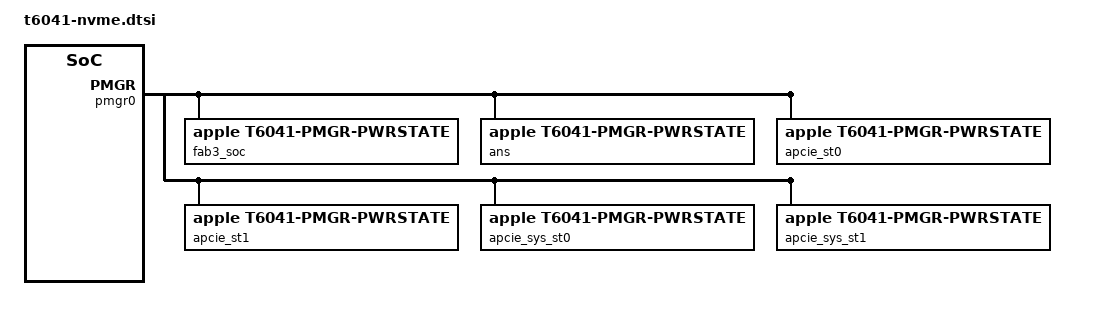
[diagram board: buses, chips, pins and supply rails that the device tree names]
// SPDX-License-Identifier: GPL-2.0+ OR MIT
/* J616c resources from its ADT. nvme-secure-bar is a present, zero-length
 * boolean property. Use the M4 secure NVMe aperture (reg[9]), not reg[3].
 */
&pmgr0 {
	ps_fab3_soc: power-controller@118 {
		compatible = "apple,t6041-pmgr-pwrstate", "apple,t8103-pmgr-pwrstate";
		reg = <0x118 4>;
		#power-domain-cells = <0>;
		#reset-cells = <0>;
		label = "fab3_soc";
		apple,always-on;
	};
	ps_ans: power-controller@370 {
		compatible = "apple,t6041-pmgr-pwrstate", "apple,t8103-pmgr-pwrstate";
		reg = <0x370 4>;
		#power-domain-cells = <0>;
		#reset-cells = <0>;
		label = "ans";
		power-domains = <&ps_fab3_soc>;
		/* Turning ANS off can trigger its watchdog. */
		apple,always-on;
	};
	ps_apcie_st0: power-controller@108 {
		compatible = "apple,t6041-pmgr-pwrstate", "apple,t8103-pmgr-pwrstate";
		reg = <0x108 4>;
		#power-domain-cells = <0>;
		#reset-cells = <0>;
		label = "apcie_st0";
	};
	ps_apcie_st1: power-controller@110 {
		compatible = "apple,t6041-pmgr-pwrstate", "apple,t8103-pmgr-pwrstate";
		reg = <0x110 4>;
		#power-domain-cells = <0>;
		#reset-cells = <0>;
		label = "apcie_st1";
	};
	ps_apcie_sys_st0: power-controller@380 {
		compatible = "apple,t6041-pmgr-pwrstate", "apple,t8103-pmgr-pwrstate";
		reg = <0x380 4>;
		#power-domain-cells = <0>;
		#reset-cells = <0>;
		label = "apcie_sys_st0";
		power-domains = <&ps_ans>, <&ps_apcie_st0>;
	};
	ps_apcie_sys_st1: power-controller@388 {
		compatible = "apple,t6041-pmgr-pwrstate", "apple,t8103-pmgr-pwrstate";
		reg = <0x388 4>;
		#power-domain-cells = <0>;
		#reset-cells = <0>;
		label = "apcie_sys_st1";
		power-domains = <&ps_ans>, <&ps_apcie_st1>;
	};
};

&{/soc} {
	ans_mbox: mailbox@409608000 {
		compatible = "apple,t6041-asc-mailbox", "apple,asc-mailbox-v4";
		reg = <4 0x09608000 0 0x4000>;
		interrupt-parent = <&aic>;
		interrupts = <AIC_IRQ 1530 IRQ_TYPE_LEVEL_HIGH>,
			     <AIC_IRQ 1531 IRQ_TYPE_LEVEL_HIGH>,
			     <AIC_IRQ 1532 IRQ_TYPE_LEVEL_HIGH>,
			     <AIC_IRQ 1533 IRQ_TYPE_LEVEL_HIGH>;
		interrupt-names = "send-empty", "send-not-empty", "recv-empty", "recv-not-empty";
		#mbox-cells = <0>;
		power-domains = <&ps_ans>;
	};
	sart_ans: sart@40dc50000 {
		compatible = "apple,t6041-sart", "apple,t6000-sart";
		reg = <4 0x0dc50000 0 0xc000>;
		power-domains = <&ps_ans>;
	};
	nvme: nvme@44dcc0000 {
		compatible = "apple,t6041-nvme-ans2", "apple,t8132-nvme-ans2";
		reg = <4 0x4dcc0000 0 0x60000>, <4 0x09600000 0 0x4000>;
		reg-names = "nvme", "ans";
		interrupt-parent = <&aic>;
		interrupts = <AIC_IRQ 2583 IRQ_TYPE_LEVEL_HIGH>;
		mboxes = <&ans_mbox>;
		power-domains = <&ps_ans>, <&ps_apcie_sys_st0>, <&ps_apcie_sys_st1>;
		power-domain-names = "ans", "apcie0", "apcie1";
		resets = <&ps_ans>;
		apple,sart = <&sart_ans>;
	};
};
